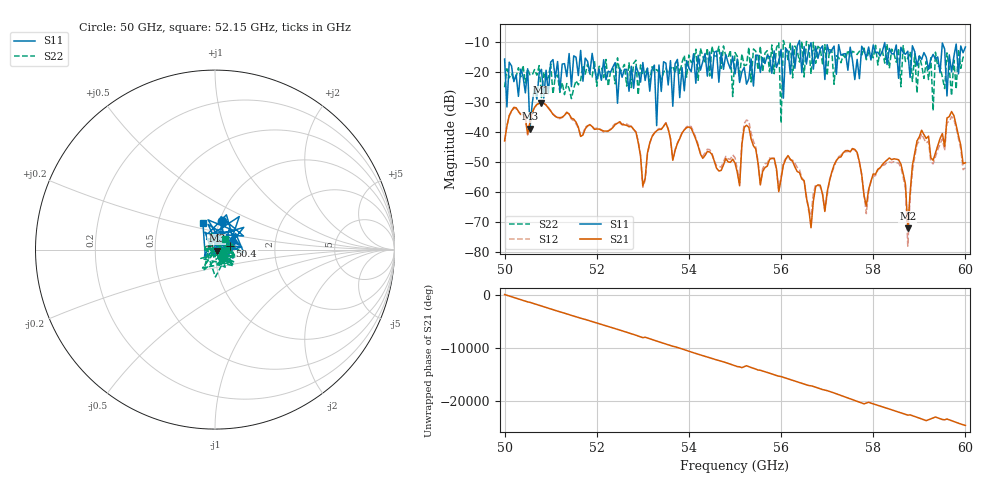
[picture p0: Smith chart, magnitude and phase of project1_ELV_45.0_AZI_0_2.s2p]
! 10/29/2026 4:21:24 PM
! C:\ANRITSUVNA\TEMP\TEMP.S2P
! CHANNEL.1
! TR.MEASUREMENT
! RAW.DATA
# HZ S RI R 50.0
! FREQ.HZ  S11RE  S11IM  S21RE  S21IM  S12RE  S12IM  S22RE  S22IM
!; PortSelection: Port_12
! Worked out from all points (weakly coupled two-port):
!   201 points, 50 GHz to 60 GHz, reference 50 ohm
!   highest |S21| = -30.22 dB at 50.8 GHz (marker M1); lowest = -72.0 dB at 58.75 GHz (marker M2)
!   lowest |S11| = -38.8 dB at 50.55 GHz (marker M3), VSWR 1.02, Z = 50.9 - j0.689 ohm
!   |S11| at or under -10 dB: start of sweep to 56.39 GHz; 56.4 GHz to end of sweep
!   |S22| runs from -37.0 to -9.5 dB; largest |S21 - S12| = 0.048
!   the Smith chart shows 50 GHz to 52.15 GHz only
!   S11 on the Smith chart (normalised r, x): 50 GHz: 1.02, +0.34; 50.4 GHz: 1.18, +0.05; 52.15 GHz: 0.84, +0.25
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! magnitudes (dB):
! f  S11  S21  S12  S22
! 50 GHz  -15.7  -42.9  -42.9  -25.1
! 50.4 GHz  -21.4  -34.1  -34.1  -17.8
! 50.55 GHz  -38.8  -36.8  -36.9  -20.9
! 50.8 GHz  -19.1  -30.2  -30.2  -28.5
! 51.7 GHz  -23.0  -41.0  -40.6  -17.9
! 52.15 GHz  -15.9  -39.6  -40.0  -21.9
! 53 GHz  -16.9  -57.9  -58.4  -20.5
! 53.25 GHz  -17.7  -40.4  -40.2  -19.9
! 53.3 GHz  -37.9  -39.6  -39.4  -19.2
! 53.35 GHz  -17.7  -39.1  -38.8  -20.1
! 55 GHz  -20.7  -50.3  -48.5  -13.5
! 55.95 GHz  -16.3  -59.8  -59.2  -10.3
! 56 GHz  -12.5  -55.5  -54.8  -37.0
! 56.05 GHz  -28.7  -51.0  -50.1  -9.5
! 56.1 GHz  -12.1  -49.0  -48.8  -12.3
! 56.7 GHz  -19.0  -63.0  -60.3  -10.1
! 58.35 GHz  -12.2  -48.6  -50.0  -18.8
! 58.75 GHz  -13.1  -72.0  -78.0  -15.4
! 59.05 GHz  -15.8  -39.4  -40.6  -17.7
! 59.3 GHz  -14.1  -49.4  -50.6  -32.9
! 59.35 GHz  -15.6  -46.9  -48.1  -13.4
! 60 GHz  -11.7  -50.2  -51.9  -15.0
